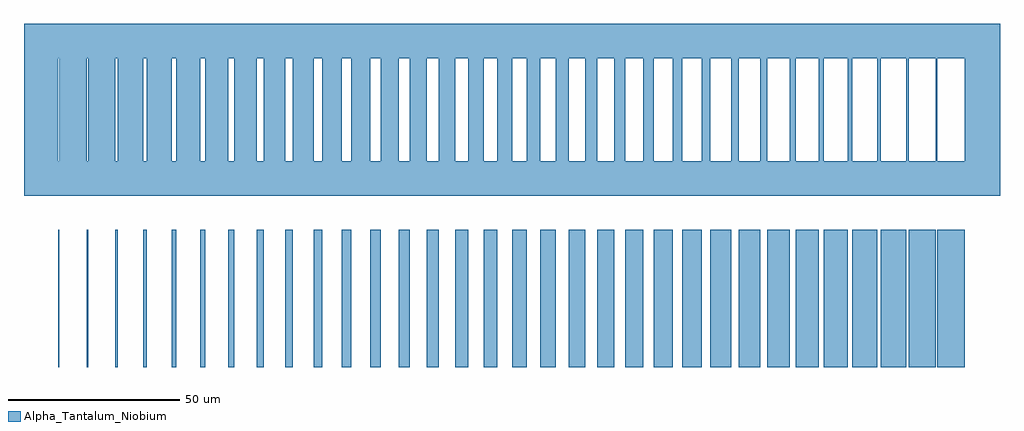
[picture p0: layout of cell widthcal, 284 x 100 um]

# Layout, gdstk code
import gdstk
lib = gdstk.Library(unit=1e-6, precision=1e-09)
def R(c, l, rs):  # rectangles x0, y0, x1, y1
    for r in rs: c.add(gdstk.rectangle(r[:2], r[2:], *l))
def P(c, l, *ps):  # polygons
    for p in ps: c.add(gdstk.Polygon(p, *l))
Alpha_Tantalum_Niobium = (0, 0)

widthcal = lib.new_cell('widthcal')
R(widthcal, Alpha_Tantalum_Niobium, [(0,0,0.25,40), (8.25,0,8.75,40), (16.5,0,17.25,40), (24.75,0,25.75,40), (33,0,34.25,40), (41.25,0,42.75,40), (49.5,0,51.25,40), (57.75,0,59.75,40), (66,0,68.25,40), (74.25,0,76.75,40), (82.5,0,85.25,40), (90.75,0,93.75,40), (99,0,102.25,40), (107.25,0,110.75,40), (115.5,0,119.25,40), (123.75,0,127.75,40), (132,0,136.25,40), (140.25,0,144.75,40), (148.5,0,153.25,40), (156.75,0,161.75,40), (165,0,170.25,40), (173.25,0,178.75,40), (181.5,0,187.25,40), (189.75,0,195.75,40), (198,0,204.25,40), (206.25,0,212.75,40), (214.5,0,221.25,40), (222.75,0,229.75,40), (231,0,238.25,40), (239.25,0,246.75,40), (247.5,0,255.25,40), (255.75,0,263.75,40)])
P(widthcal, Alpha_Tantalum_Niobium, [(274,100),(-10,100),(-10,60),(0,60),(0,90),(0.25,90),(0.25,60),(8.25,60),(8.25,90),(8.75,90),(8.75,60),(16.5,60),(16.5,90),(17.25,90),(17.25,60),(24.75,60),(24.75,90),(25.75,90),(25.75,60),(33,60),(33,90),(34.25,90),(34.25,60),(41.25,60),(41.25,90),(42.75,90),(42.75,60),(49.5,60),(49.5,90),(51.25,90),(51.25,60),(57.75,60),(57.75,90),(59.75,90),(59.75,60),(66,60),(66,90),(68.25,90),(68.25,60),(74.25,60),(74.25,90),(76.75,90),(76.75,60),(82.5,60),(82.5,90),(85.25,90),(85.25,60),(90.75,60),(90.75,90),(93.75,90),(93.75,60),(99,60),(99,90),(102.25,90),(102.25,60),(107.25,60),(107.25,90),(110.75,90),(110.75,60),(115.5,60),(115.5,90),(119.25,90),(119.25,60),(123.75,60),(123.75,90),(127.75,90),(127.75,60),(132,60),(132,90),(136.25,90),(136.25,60),(140.25,60),(140.25,90),(144.75,90),(144.75,60),(148.5,60),(148.5,90),(153.25,90),(153.25,60),(156.75,60),(156.75,90),(161.75,90),(161.75,60),(165,60),(165,90),(170.25,90),(170.25,60),(173.25,60),(173.25,90),(178.75,90),(178.75,60),(181.5,60),(181.5,90),(187.25,90),(187.25,60),(189.75,60),(189.75,90),(195.75,90),(195.75,60),(198,60),(198,90),(204.25,90),(204.25,60),(206.25,60),(206.25,90),(212.75,90),(212.75,60),(214.5,60),(214.5,90),(221.25,90),(221.25,60),(222.75,60),(222.75,90),(229.75,90),(229.75,60),(231,60),(231,90),(238.25,90),(238.25,60),(239.25,60),(239.25,90),(246.75,90),(246.75,60),(247.5,60),(247.5,90),(255.25,90),(255.25,60),(255.75,60),(255.75,90),(263.75,90),(263.75,60),(255.75,60),(255.25,60),(247.5,60),(246.75,60),(239.25,60),(238.25,60),(231,60),(229.75,60),(222.75,60),(221.25,60),(214.5,60),(212.75,60),(206.25,60),(204.25,60),(198,60),(195.75,60),(189.75,60),(187.25,60),(181.5,60),(178.75,60),(173.25,60),(170.25,60),(165,60),(161.75,60),(156.75,60),(153.25,60),(148.5,60),(144.75,60),(140.25,60),(136.25,60),(132,60),(127.75,60),(123.75,60),(119.25,60),(115.5,60),(110.75,60),(107.25,60),(102.25,60),(99,60),(93.75,60),(90.75,60),(85.25,60),(82.5,60),(76.75,60),(74.25,60),(68.25,60),(66,60),(59.75,60),(57.75,60),(51.25,60),(49.5,60),(42.75,60),(41.25,60),(34.25,60),(33,60),(25.75,60),(24.75,60),(17.25,60),(16.5,60),(8.75,60),(8.25,60),(0.25,60),(0,60),(-10,60),(-10,50),(274,50)])

lib.write_gds('widthcal.gds')
